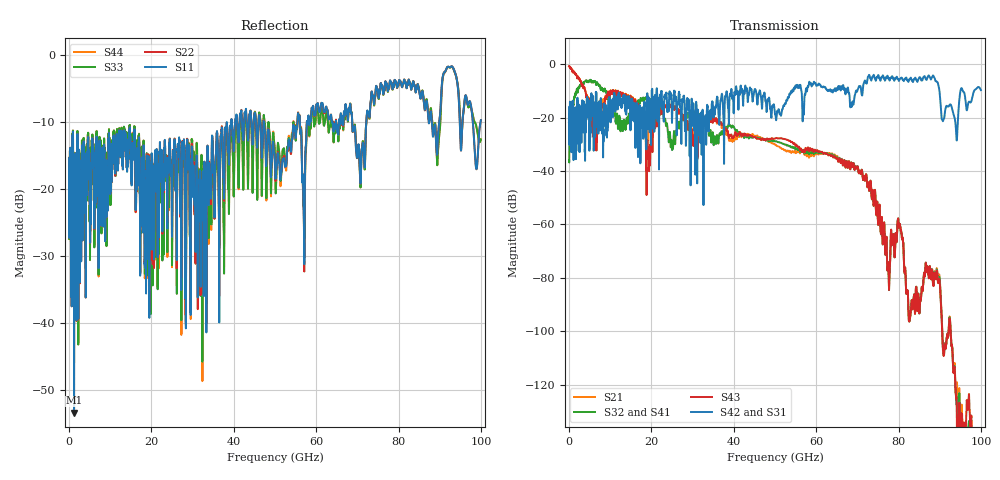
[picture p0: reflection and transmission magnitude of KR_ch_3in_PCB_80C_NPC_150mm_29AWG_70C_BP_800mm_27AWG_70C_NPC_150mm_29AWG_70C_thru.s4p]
# GHz S RI R 45
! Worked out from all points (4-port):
!   4000 points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, 25 MHz to 100 GHz, reference 45 ohm
!   strongest paths, dB at 25 MHz, 25.02 GHz, 50.02 GHz, 75.03 GHz, 100 GHz:
!     S42: -21.8, -20.6, -18.8, -4.2, -9.7
!     S31: -21.8, -20.7, -18.9, -4.2, -9.7
!     S43: -0.8, -15.3, -27.9, -58.9, -146.1
!     S32: -36.1, -32.0, -28.9, -59.0, -153.7
!     S41: -36.1, -31.9, -28.9, -59.0, -153.7
!     S21: -0.8, -15.2, -30.2, -59.0, -165.2
!   lowest |S11| = -53.4 dB at 1.225 GHz (marker M1), VSWR 1.00, Z = 45.1 + j0.132 ohm
!   |S11| at or under -10 dB: start of sweep to 38.29 GHz; 47.31 GHz to 55.46 GHz (8.147 GHz wide, 15.9 % of centre); 68.75 GHz to 72.18 GHz (3.437 GHz wide, 4.88 % of centre)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
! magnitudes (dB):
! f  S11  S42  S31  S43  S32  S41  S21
! 25 MHz  -17.2  -21.8  -21.8  -0.8  -36.1  -36.1  -0.8
! 1.225 GHz  -53.4  -27.8  -27.8  -2.8  -12.9  -12.9  -2.8
! 19.2 GHz  -18.0  -20.3  -20.5  -33.1  -12.8  -12.8  -28.7
! 24.3 GHz  -15.2  -13.1  -13.1  -15.6  -28.5  -28.6  -15.5
! 64.15 GHz  -11.1  -9.9  -9.8  -35.0  -34.6  -34.6  -34.2
! 77.6 GHz  -4.6  -5.3  -5.3  -77.8  -77.8  -77.8  -77.9
! 100 GHz  -9.7  -9.7  -9.7  -146.1  -153.7  -153.7  -165.2
